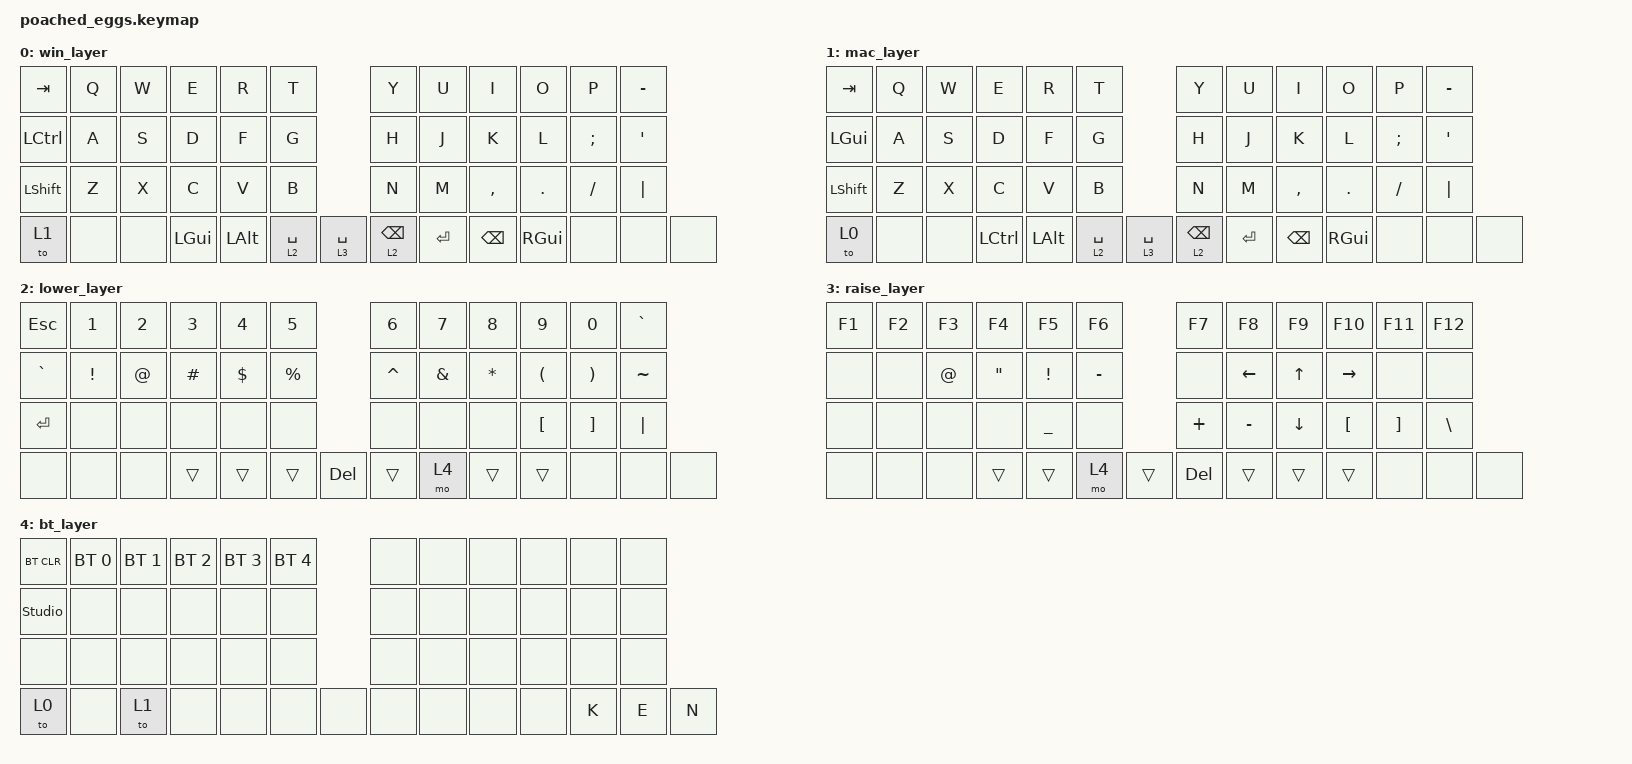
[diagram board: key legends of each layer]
#include <behaviors.dtsi>
#include <dt-bindings/zmk/bt.h>
#include <dt-bindings/zmk/keys.h>

/ {
    combos {
        compatible = "zmk,combos";

        // Windows: J + K = Ctrl + Space
        combo_win_ime_toggle {
            timeout-ms = <50>;
            key-positions = <19 20>;
            bindings = <&kp LC(SPACE)>;
            layers = <0>;
        };

        // Mac: J + K = 日本語ON
        combo_mac_jp_on {
            timeout-ms = <50>;
            key-positions = <19 20>;
            bindings = <&kp LANG1>;
            layers = <1>;
        };

        // Mac: K + L = 英数
        combo_mac_jp_off {
            timeout-ms = <50>;
            key-positions = <20 21>;
            bindings = <&kp LANG2>;
            layers = <1>;
        };

        // Windows: D + F = Alt + Tab
        combo_win_alt_tab {
            timeout-ms = <50>;
            key-positions = <15 16>;
            bindings = <&kp LA(TAB)>;
            layers = <0>;
        };

        // Windows: F + G = Win + Tab
        combo_win_win_tab {
            timeout-ms = <50>;
            key-positions = <16 17>;
            bindings = <&kp LG(TAB)>;
            layers = <0>;
        };

        // Windows: S + D = Ctrl + Tab
        combo_win_next_tab {
            timeout-ms = <50>;
            key-positions = <14 15>;
            bindings = <&kp LC(TAB)>;
            layers = <0>;
        };

        // Windows: A + S = Ctrl + Shift + Tab
        combo_win_prev_tab {
            timeout-ms = <50>;
            key-positions = <13 14>;
            bindings = <&kp LC(LS(TAB))>;
            layers = <0>;
        };

        // Mac: S + D = Cmd + Shift + ]
        combo_mac_next_tab {
            timeout-ms = <50>;
            key-positions = <14 15>;
            bindings = <&kp LG(LS(RBKT))>;
            layers = <1>;
        };

        // Mac: A + S = Cmd + Shift + [
        combo_mac_prev_tab {
            timeout-ms = <50>;
            key-positions = <13 14>;
            bindings = <&kp LG(LS(LBKT))>;
            layers = <1>;
        };

        // Windows: Z + X = Ctrl + C
        combo_win_copy {
            timeout-ms = <50>;
            key-positions = <25 26>;
            bindings = <&kp LC(C)>;
            layers = <0>;
        };

        // Windows: X + C = Ctrl + V
        combo_win_paste {
            timeout-ms = <50>;
            key-positions = <26 27>;
            bindings = <&kp LC(V)>;
            layers = <0>;
        };

        // Windows: C + V = Win + Shift + S
        combo_win_screenshot {
            timeout-ms = <50>;
            key-positions = <27 28>;
            bindings = <&kp LG(LS(S))>;
            layers = <0>;
        };

        // Mac: Z + X = Cmd + C
        combo_mac_copy {
            timeout-ms = <50>;
            key-positions = <25 26>;
            bindings = <&kp LG(C)>;
            layers = <1>;
        };

        // Mac: X + C = Cmd + V
        combo_mac_paste {
            timeout-ms = <50>;
            key-positions = <26 27>;
            bindings = <&kp LG(V)>;
            layers = <1>;
        };

        // Mac: C + V = Cmd + Shift + 4
        combo_mac_screenshot {
            timeout-ms = <50>;
            key-positions = <27 28>;
            bindings = <&kp LG(LS(N4))>;
            layers = <1>;
        };
    };

    keymap {
        compatible = "zmk,keymap";

        win_layer {
            bindings = <
&kp TAB    &kp Q  &kp W  &kp E     &kp R     &kp T                      &kp Y  &kp U     &kp I      &kp O    &kp P     &kp MINUS
&kp LCTRL  &kp A  &kp S  &kp D     &kp F     &kp G                      &kp H  &kp J     &kp K      &kp L    &kp SEMI  &kp SQT
&kp LSHFT  &kp Z  &kp X  &kp C     &kp V     &kp B                      &kp N  &kp M     &kp COMMA  &kp DOT  &kp FSLH  &kp PIPE
&to 1      &none  &none  &kp LGUI  &kp LALT  &lt 2 SPACE  &lt 3 SPACE  &lt 2 BSPC  &kp RET  &kp BSPC  &kp RGUI   &none    &none     &none
            >;
        };

        mac_layer {
            bindings = <
&kp TAB    &kp Q  &kp W  &kp E     &kp R     &kp T                      &kp Y  &kp U     &kp I      &kp O    &kp P     &kp MINUS
&kp LGUI   &kp A  &kp S  &kp D     &kp F     &kp G                      &kp H  &kp J     &kp K      &kp L    &kp SEMI  &kp SQT
&kp LSHFT  &kp Z  &kp X  &kp C     &kp V     &kp B                      &kp N  &kp M     &kp COMMA  &kp DOT  &kp FSLH  &kp PIPE
&to 0      &none  &none  &kp LCTRL &kp LALT  &lt 2 SPACE  &lt 3 SPACE  &lt 2 BSPC  &kp RET  &kp BSPC  &kp RGUI   &none    &none     &none
            >;
        };

        lower_layer {
            bindings = <
&kp ESC    &kp N1    &kp N2  &kp N3    &kp N4      &kp N5                      &kp N6     &kp N7    &kp N8     &kp N9    &kp N0    &kp GRAVE
&kp GRAVE  &kp EXCL  &kp AT  &kp HASH  &kp DOLLAR  &kp PRCNT                   &kp CARET  &kp AMPS  &kp ASTRK  &kp LPAR  &kp RPAR  &kp TILDE
&kp RET    &none     &none   &none     &none       &none                       &none      &none     &none      &kp LBKT  &kp RBKT  &kp PIPE
&none      &none     &none   &trans    &trans      &trans     &kp DEL  &trans  &mo 4      &trans    &trans     &none     &none     &none
            >;
        };

        raise_layer {
            bindings = <
&kp F1  &kp F2  &kp F3  &kp F4   &kp F5    &kp F6                   &kp F7    &kp F8     &kp F9    &kp F10   &kp F11   &kp F12
&none   &none   &kp AT  &kp DQT  &kp EXCL  &kp MINUS                &none     &kp LEFT   &kp UP    &kp RIGHT &none     &none
&none   &none   &none   &none    &kp UNDER &none                    &kp PLUS  &kp MINUS  &kp DOWN  &kp LBKT  &kp RBKT  &kp BSLH
&none   &none   &none   &trans   &trans    &mo 4   &trans  &kp DEL  &trans    &trans     &trans    &none     &none     &none
            >;
        };

        bt_layer {
            bindings = <
&bt BT_CLR      &bt BT_SEL 0  &bt BT_SEL 1  &bt BT_SEL 2  &bt BT_SEL 3  &bt BT_SEL 4                &none  &none  &none  &none  &none  &none
&studio_unlock  &none         &none         &none         &none         &none                       &none  &none  &none  &none  &none  &none
&none           &none         &none         &none         &none         &none                       &none  &none  &none  &none  &none  &none
&to 0           &none         &to 1         &none         &none         &none         &none  &none  &none  &none  &none  &kp K  &kp E  &kp N
            >;
        };
    };
};
